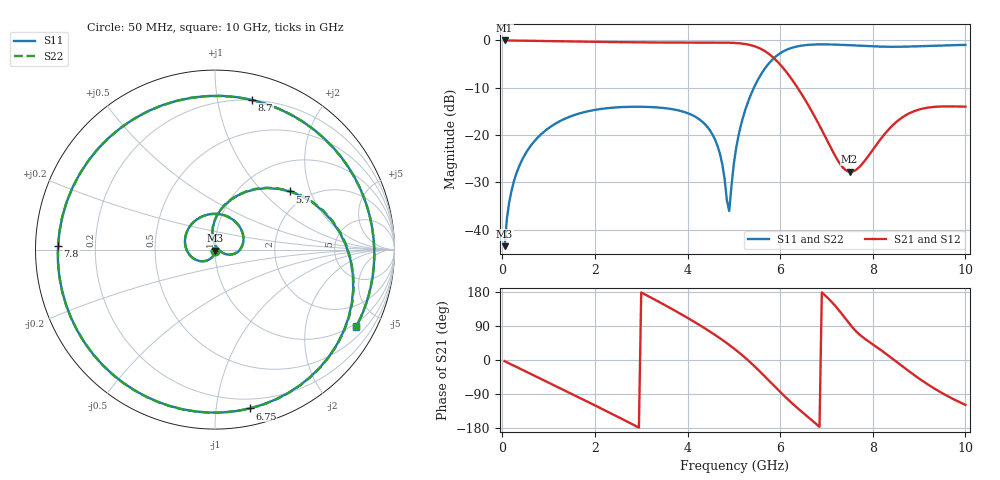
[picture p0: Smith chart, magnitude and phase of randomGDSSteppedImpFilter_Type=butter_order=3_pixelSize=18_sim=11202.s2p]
! freq	dB(S11)	phase(S11)	dB(S12)	phase(S12)
!  dB(S21)	phase(S21)	dB(S22)	phase(S22)
!S-par simulation data
#  GHz  S  DB  R 50
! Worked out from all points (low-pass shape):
!   200 points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, 50 MHz to 10 GHz, reference 50 ohm
!   highest |S21| = -0.01 dB at 50 MHz (marker M1); lowest = -27.8 dB at 7.5 GHz (marker M2)
!   |S21| within 3 dB of the highest: start of sweep to 5.777 GHz
!   lowest |S11| = -43.5 dB at 50 MHz (marker M3), VSWR 1.01, Z = 50 - j0.67 ohm
!   |S11| at or under -10 dB: start of sweep to 5.434 GHz
!   |S22| runs from -43.5 to -0.8 dB; largest |S21 - S12| = 0
!   S11 on the Smith chart (normalised r, x): 50 MHz: 1.00, -0.01; 5.7 GHz: 1.62, +1.46; 6.75 GHz: 0.13, -1.23; 7.8 GHz: 0.07, +0.01; 8.7 GHz: 0.20, +1.26; 10 GHz: 0.85, -3.73
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0.05  -43.48 -91.0  -0.01 -3.0  -0.01 -3.0  -43.48 -91.0
0.2  -31.70 -101.3  -0.02 -12.0  -0.02 -12.0  -31.70 -101.3
0.5  -23.95 -120.2  -0.06 -29.9  -0.06 -29.9  -23.95 -120.1
1.15  -17.57 -159.6  -0.16 -68.7  -0.16 -68.7  -17.57 -159.4
1.75  -15.20 164.3  -0.26 -104.6  -0.26 -104.6  -15.20 164.6
2.65  -14.06 109.2  -0.38 -159.6  -0.38 -159.6  -14.06 109.6
3.4  -14.20 61.4  -0.44 152.3  -0.44 152.3  -14.20 61.9
4  -15.37 21.4  -0.46 111.2  -0.46 111.2  -15.36 21.9
4.5  -19.24 -12.7  -0.45 73.8  -0.45 73.8  -19.24 -12.1
4.9  -36.04 53.8  -0.48 39.9  -0.48 39.9  -35.84 53.9
5.05  -22.75 100.2  -0.55 25.8  -0.55 25.8  -22.73 100.3
5.35  -11.89 77.5  -0.96 -5.6  -0.96 -5.6  -11.89 77.9
5.7  -5.55 37.9  -2.45 -47.2  -2.45 -47.2  -5.55 38.3
6.15  -1.93 -15.9  -6.86 -102.0  -6.86 -102.0  -1.92 -15.4
6.7  -0.88 -73.0  -15.28 -160.6  -15.28 -160.6  -0.87 -72.3
6.75  -0.86 -77.7  -16.17 -165.7  -16.17 -165.7  -0.85 -77.0
7.5  -1.01 -149.8  -27.76 95.0  -27.76 95.0  -1.00 -148.7
7.8  -1.16 178.6  -25.77 58.7  -25.77 58.7  -1.15 179.8
8.35  -1.34 115.5  -18.74 10.4  -18.74 10.4  -1.35 116.8
8.7  -1.32 76.0  -15.88 -22.2  -15.88 -22.2  -1.32 77.1
9.3  -1.12 19.1  -14.07 -73.1  -14.07 -73.1  -1.13 19.8
10  -0.95 -28.6  -13.99 -118.3  -13.99 -118.3  -0.96 -28.4
